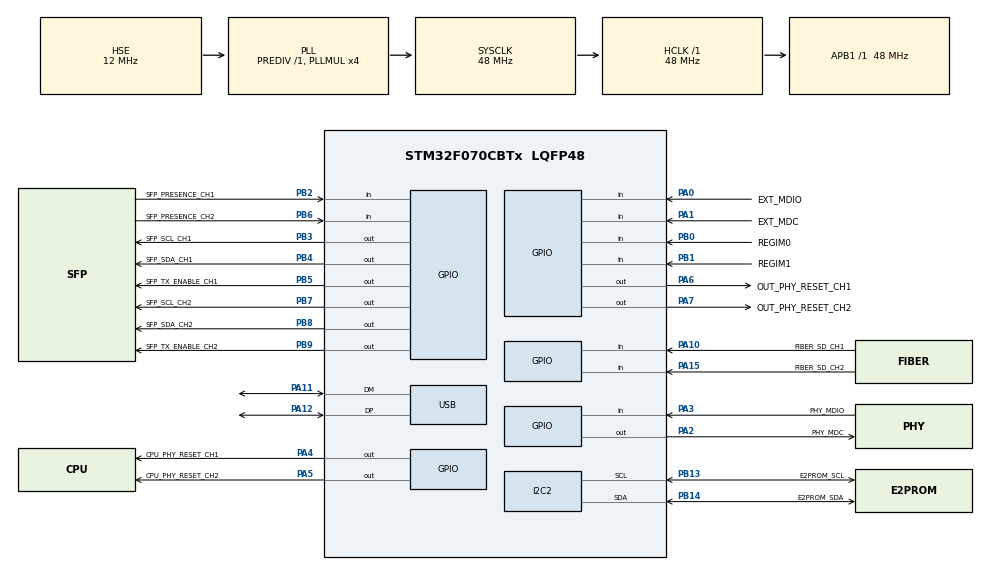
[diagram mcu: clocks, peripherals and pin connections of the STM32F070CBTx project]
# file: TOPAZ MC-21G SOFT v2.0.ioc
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I2C2.Timing=0x20303E5D
IWDG.Prescaler=IWDG_PRESCALER_8
IWDG.Reload=2500
IWDG.Window=4095
Mcu.Family=STM32F0
Mcu.Name=STM32F070CBTx
Mcu.Package=LQFP48
NVIC.USB_IRQn=true\:0\:0\:false\:false\:true\:false\:true
PA0.GPIO_Label=EXT_MDIO
PA0.Signal=GPIO_Input
PA1.GPIO_Label=EXT_MDC
PA1.GPIO_Mode=GPIO_MODE_INPUT
PA1.Signal=GPIO_Input
PA10.GPIO_Label=FIBER_SD_CH1
PA10.Signal=GPIO_Input
PA11.Mode=Device
PA11.Signal=USB_DM
PA12.Mode=Device
PA12.Signal=USB_DP
PA13.Mode=Serial_Wire
PA13.Signal=SYS_SWDIO
PA14.Mode=Serial_Wire
PA14.Signal=SYS_SWCLK
PA15.GPIO_Label=FIBER_SD_CH2
PA15.Signal=GPIO_Input
PA2.GPIO_Label=PHY_MDC
PA2.GPIO_Speed=GPIO_SPEED_FREQ_HIGH
PA2.Signal=GPIO_Output
PA3.GPIO_Label=PHY_MDIO
PA3.Signal=GPIO_Input
PA4.GPIO_Label=CPU_PHY_RESET_CH1
PA4.GPIO_Speed=GPIO_SPEED_FREQ_LOW
PA4.Signal=GPIO_Output
PA5.GPIO_Label=CPU_PHY_RESET_CH2
PA5.GPIO_Speed=GPIO_SPEED_FREQ_LOW
PA5.Signal=GPIO_Output
PA6.GPIO_Label=OUT_PHY_RESET_CH1
PA6.Signal=GPIO_Output
PA7.GPIO_Label=OUT_PHY_RESET_CH2
PA7.Signal=GPIO_Output
PB0.GPIO_Label=REGIM0
PB0.GPIO_PuPd=GPIO_PULLUP
PB0.Signal=GPIO_Input
PB1.GPIO_Label=REGIM1
PB1.GPIO_PuPd=GPIO_PULLUP
PB1.Signal=GPIO_Input
PB13.GPIO_Label=E2PROM_SCL
PB13.Mode=I2C
PB13.Signal=I2C2_SCL
PB14.GPIO_Label=E2PROM_SDA
PB14.Mode=I2C
PB14.Signal=I2C2_SDA
PB2.GPIO_Label=SFP_PRESENCE_CH1
PB2.Signal=GPIO_Input
PB3.GPIO_Label=SFP_SCL_CH1
PB3.GPIO_ModeDefaultOutputPP=GPIO_MODE_OUTPUT_OD
PB3.GPIO_Speed=GPIO_SPEED_FREQ_HIGH
PB3.PinState=GPIO_PIN_SET
PB3.Signal=GPIO_Output
PB4.GPIO_Label=SFP_SDA_CH1
PB4.GPIO_ModeDefaultOutputPP=GPIO_MODE_OUTPUT_OD
PB4.GPIO_Speed=GPIO_SPEED_FREQ_HIGH
PB4.PinState=GPIO_PIN_SET
PB4.Signal=GPIO_Output
PB5.GPIO_Label=SFP_TX_ENABLE_CH1
PB5.GPIO_ModeDefaultOutputPP=GPIO_MODE_OUTPUT_OD
PB5.GPIO_PuPd=GPIO_PULLUP
PB5.GPIO_Speed=GPIO_SPEED_FREQ_HIGH
PB5.PinState=GPIO_PIN_SET
PB5.Signal=GPIO_Output
PB6.GPIO_Label=SFP_PRESENCE_CH2
PB6.Signal=GPIO_Input
PB7.GPIO_FM7=SYSCFG_CFGR1_I2C_FMP_PB7
PB7.GPIO_Label=SFP_SCL_CH2
PB7.GPIO_ModeDefaultOutputPP=GPIO_MODE_OUTPUT_OD
PB7.GPIO_Speed=GPIO_SPEED_FREQ_HIGH
PB7.PinState=GPIO_PIN_SET
PB7.Signal=GPIO_Output
PB8.GPIO_FM8=SYSCFG_CFGR1_I2C_FMP_PB8
PB8.GPIO_Label=SFP_SDA_CH2
PB8.GPIO_ModeDefaultOutputPP=GPIO_MODE_OUTPUT_OD
PB8.GPIO_Speed=GPIO_SPEED_FREQ_HIGH
PB8.PinState=GPIO_PIN_SET
PB8.Signal=GPIO_Output
PB9.GPIO_FM9=SYSCFG_CFGR1_I2C_FMP_PB9
PB9.GPIO_Label=SFP_TX_ENABLE_CH2
PB9.GPIO_ModeDefaultOutputPP=GPIO_MODE_OUTPUT_OD
PB9.GPIO_PuPd=GPIO_PULLUP
PB9.GPIO_Speed=GPIO_SPEED_FREQ_HIGH
PB9.PinState=GPIO_PIN_SET
PB9.Signal=GPIO_Output
PF0-OSC_IN.Mode=HSE-External-Oscillator
PF0-OSC_IN.Signal=RCC_OSC_IN
PF1-OSC_OUT.Mode=HSE-External-Oscillator
PF1-OSC_OUT.Signal=RCC_OSC_OUT
ProjectManager.HeapSize=0x1000
ProjectManager.StackSize=0x800
ProjectManager.TargetToolchain=EWARM V8
RCC.AHBFreq_Value=48000000
RCC.APB1Freq_Value=48000000
RCC.APB1TimFreq_Value=48000000
RCC.HCLKFreq_Value=48000000
RCC.HSE_VALUE=12000000
RCC.PLLMUL=RCC_PLL_MUL4
RCC.SYSCLKFreq_VALUE=48000000
RCC.SYSCLKSource=RCC_SYSCLKSOURCE_PLLCLK
USB_DEVICE.CLASS_NAME_FS=CDC
USB_DEVICE.VirtualMode=Cdc
USB_DEVICE.VirtualModeFS=Cdc_FS
VP_IWDG_VS_IWDG.Mode=IWDG_Activate
VP_USB_DEVICE_VS_USB_DEVICE_CDC_FS.Mode=CDC_FS
board=custom

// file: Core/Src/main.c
/* USER CODE BEGIN Header */
/**
  ******************************************************************************
  * @file           : main.c
  * @brief          : Main program body
  ******************************************************************************
  * @attention
  *
  * <h2><center>&copy; Copyright (c) 2020 STMicroelectronics.
  * All rights reserved.</center></h2>
  *
  * This software component is licensed by ST under BSD 3-Clause license,
  * the "License"; You may not use this file except in compliance with the
  * License. You may obtain a copy of the License at:
  *                        opensource.org/licenses/BSD-3-Clause
  *
  ******************************************************************************
  */
/* USER CODE END Header */
#include "main.h"
#include "i2c.h"
#include "iwdg.h"
#include "usb_device.h"
#include "gpio.h"

/* USER CODE BEGIN Includes */
#include "def.h"
/* USER CODE END Includes */

/* USER CODE BEGIN PV */
TIME_EVENTS		time_events = {FALSE, FALSE, FALSE, FALSE};
SYSTEM_STATUS	system_status = {MODEX, ABSENT, ABSENT,
								SFP_UNKNOWN, SFP_UNKNOWN,
								LINK_DOWN, LINK_DOWN,
								false, false};
SYSTEM_EVENTS	system_events = {FALSE, FALSE, FALSE, FALSE, FALSE, FALSE, FALSE, FALSE};
/* USER CODE END PV */

void SystemClock_Config(void);

int main(void)
{

  /* MCU Configuration--------------------------------------------------------*/

  /* Reset of all peripherals, Initializes the Flash interface and the Systick. */
  HAL_Init();

  /* Configure the system clock */
  SystemClock_Config();

  /* Initialize all configured peripherals */
  MX_GPIO_Init();
  MX_USB_DEVICE_Init();
  MX_I2C2_Init();
//  MX_IWDG_Init();
  /* USER CODE BEGIN 2 */

	ConsoleWrite(_str_start_program);

	system_status.op_mode = DetermineOperatingMode();

	if(system_status.op_mode == MODEX)	// аппаратная ошибка определения режима работы
		ResolveCriticalException(HW_ERROR, _str_wrong_op_mode);

	HAL_Delay(250);	// guaranteed hardware reset time

	WDT

	// de-assert HW reset pins
	OUT_PHY_RESET_CH1_H
	OUT_PHY_RESET_CH2_H
	if(system_status.op_mode != MODE0)
	{
		CPU_PHY_RESET_CH1_H
		CPU_PHY_RESET_CH2_H
	}

	// проверяем ответы от микросхем PHY
	if(CheckPHYPresence(system_status.op_mode) != SUCCESS)
		ResolveCriticalException(HW_ERROR, _str_phy_detect_error);

	WDT

  /* USER CODE END 2 */

  /* Infinite loop */
  /* USER CODE BEGIN WHILE */
	while (1)
	{
		WDT

		//-------------------------------------------------------//
		if(time_events.event_10ms == TRUE)
		{
			time_events.event_10ms = FALSE;

			if(system_status.op_mode != MODE3)
			{
				// ВСТАВЛЕН МОДУЛЬ SFP КАНАЛ 1
				if(system_events.event_sfp_inserted_ch1 == TRUE)
				{
					system_events.event_sfp_inserted_ch1 = FALSE;
					DefineSFPtype(CHANNEL1);

					if(system_status.ch1_sfp_type == SFP_UNKNOWN)	// исключительная ситуация
					{
						// ResolveCriticalException(HW_ERROR, _str_sfp_detect_error);
					}
					else
					{
						SFP_TX_ENABLE_CH1

						ConfigurePHY(CHANNEL1);
					}
				}

				// ВСТАВЛЕН МОДУЛЬ SFP КАНАЛ 2
				if(system_events.event_sfp_inserted_ch2 == TRUE)
				{
					system_events.event_sfp_inserted_ch2 = FALSE;
					DefineSFPtype(CHANNEL2);

					if(system_status.ch2_sfp_type == SFP_UNKNOWN)	// исключительная ситуация
					{
						// ResolveCriticalException(HW_ERROR, _str_sfp_detect_error);
					}
					else
					{
						SFP_TX_ENABLE_CH2

						ConfigurePHY(CHANNEL2);
					}
				}

				// МОДУЛЬ SFP КАНАЛ 1 ИЗВЛЕЧЁН
				if(system_events.event_sfp_removed_ch1 == TRUE)
				{
					system_events.event_sfp_removed_ch1 = FALSE;

					SFP_TX_DISABLE_CH1

					printf("\nCH1 SFP extracted\n");

					// soft reset
					if(system_status.op_mode == MODE0)
						write_MDIO(OUT_PHY_ADR_CH1, 0x00, 0x8000);

				}

				// МОДУЛЬ SFP КАНАЛ 2 ИЗВЛЕЧЁН
				if(system_events.event_sfp_removed_ch2 == TRUE)
				{
					system_events.event_sfp_removed_ch2 = FALSE;

					SFP_TX_DISABLE_CH2

					printf("\nCH2 SFP extracted\n");

					// soft reset
					if(system_status.op_mode == MODE0)
						write_MDIO(OUT_PHY_ADR_CH2, 0x00, 0x8000);
				}
			}

			if(system_status.op_mode != MODE2)
			{
				if(system_events.ch1_linkup == TRUE)
				{
					system_events.ch1_linkup = FALSE;

					switch(system_status.ch1_link_status)
					{
						case LINK_UP_10M:
							printf("CH1: LINK_UP_10M\n");
						break;
						case LINK_UP_100M:
							printf("CH1: LINK_UP_100M\n");
						break;
						case LINK_UP_1000M:
							printf("CH1: LINK_UP_1000M\n");
						break;
					}
				}

				if(system_events.ch1_linkdown == TRUE)
				{
					system_events.ch1_linkdown = FALSE;
					printf("CH1: LINK_DOWN\n");
				}

				if(system_events.ch2_linkup == TRUE)
				{
					system_events.ch2_linkup = FALSE;

					switch(system_status.ch2_link_status)
					{
						case LINK_UP_10M:
							printf("CH2: LINK_UP_10M\n");
						break;
						case LINK_UP_100M:
							printf("CH2: LINK_UP_100M\n");
						break;
						case LINK_UP_1000M:
							printf("CH2: LINK_UP_1000M\n");
						break;
					}
				}

				if(system_events.ch2_linkdown == TRUE)
				{
					system_events.ch2_linkdown = FALSE;
					printf("CH2: LINK_DOWN\n");
				}
			}
		}

		//-------------------------------------------------------//
		if(time_events.event_100ms == TRUE)
	  	{
			time_events.event_100ms = FALSE;

			// проверяем наличие SFP-модулей
			if(system_status.op_mode != MODE3)
				CheckSFPPresence();

			// мониторим статус линка на медных портах
//			if(system_status.op_mode != MODE2)
//				CheckCopperLinkStatus();
		}

//		if(time_events.event_500ms == TRUE)
//	  	{
//			time_events.event_500ms = FALSE;
//		}
//
		if(time_events.event_1000ms == TRUE)
	  	{
			time_events.event_1000ms = FALSE;

			//!!!DEBUG
//			CheckFiberLinkStatus();
		}
    /* USER CODE END WHILE */

  }
}

void SystemClock_Config(void)
{
  RCC_OscInitTypeDef RCC_OscInitStruct = {0};
  RCC_ClkInitTypeDef RCC_ClkInitStruct = {0};
  RCC_PeriphCLKInitTypeDef PeriphClkInit = {0};

  /** Initializes the RCC Oscillators according to the specified parameters
  * in the RCC_OscInitTypeDef structure.
  */
  RCC_OscInitStruct.OscillatorType = RCC_OSCILLATORTYPE_LSI|RCC_OSCILLATORTYPE_HSE;
  RCC_OscInitStruct.HSEState = RCC_HSE_ON;
  RCC_OscInitStruct.LSIState = RCC_LSI_ON;
  RCC_OscInitStruct.PLL.PLLState = RCC_PLL_ON;
  RCC_OscInitStruct.PLL.PLLSource = RCC_PLLSOURCE_HSE;
  RCC_OscInitStruct.PLL.PLLMUL = RCC_PLL_MUL4;
  RCC_OscInitStruct.PLL.PREDIV = RCC_PREDIV_DIV1;
  if (HAL_RCC_OscConfig(&RCC_OscInitStruct) != HAL_OK)
  {
    Error_Handler();
  }
  /** Initializes the CPU, AHB and APB buses clocks
  */
  RCC_ClkInitStruct.ClockType = RCC_CLOCKTYPE_HCLK|RCC_CLOCKTYPE_SYSCLK
                              |RCC_CLOCKTYPE_PCLK1;
  RCC_ClkInitStruct.SYSCLKSource = RCC_SYSCLKSOURCE_PLLCLK;
  RCC_ClkInitStruct.AHBCLKDivider = RCC_SYSCLK_DIV1;
  RCC_ClkInitStruct.APB1CLKDivider = RCC_HCLK_DIV1;

  if (HAL_RCC_ClockConfig(&RCC_ClkInitStruct, FLASH_LATENCY_1) != HAL_OK)
  {
    Error_Handler();
  }
  PeriphClkInit.PeriphClockSelection = RCC_PERIPHCLK_USB;
  PeriphClkInit.UsbClockSelection = RCC_USBCLKSOURCE_PLL;

  if (HAL_RCCEx_PeriphCLKConfig(&PeriphClkInit) != HAL_OK)
  {
    Error_Handler();
  }
}

/* USER CODE BEGIN 4 */
/******************************************************************************/
// определяем заданную переключателем аппаратную конфигурацию
//   - MODE 0 - два независимых медиаконвертора
//   - MODE 1 - два независимых порта с автодетектом
//   - MODE 2 - два независимых порта с оптическими трансиверами (SFP)
//   - MODE 3 - два независимых порта с разъёмами RJ-45
//   - MODE X - режим работы не определён, исключительная ситуация
OPERATING_MODE DetermineOperatingMode(void)
{
	uint8_t mode = 0;

	if(HAL_GPIO_ReadPin(REGIM0_GPIO_Port, REGIM0_Pin) == GPIO_PIN_RESET)
		mode |= 0x01;

	if(HAL_GPIO_ReadPin(REGIM1_GPIO_Port, REGIM1_Pin) == GPIO_PIN_RESET)
		mode |= 0x02;

	switch(mode)
	{
		case 0: {ConsoleWrite("MODE0 detected\n");	return MODE0;}
		case 1: {ConsoleWrite("MODE1 detected\n");	return MODE1;}
		case 2: {ConsoleWrite("MODE2 detected\n");	return MODE2;}
		case 3: {ConsoleWrite("MODE3 detected\n");	return MODE3;}
	}

	return MODEX;
}

/******************************************************************************/
void ResolveCriticalException(ERROR_TYPE error, char* message)
{
	if(message != NULL)
		ConsoleWrite(message);

	switch(error)
	{
		//----------------------------------------------//
		case HW_ERROR:
		case EXECUTE_ERROR:
			while(1);	// ждём перезагрузки по IWDTG
		break;
		//----------------------------------------------//
		default:
		break;
	}
}
/* USER CODE END 4 */

void Error_Handler(void)
{
  /* USER CODE BEGIN Error_Handler_Debug */
  /* User can add his own implementation to report the HAL error return state */
	// произошла критическая ошибка
	// необходима аппаратная перезагрузка системы
	ResolveCriticalException(EXECUTE_ERROR, NULL);
  /* USER CODE END Error_Handler_Debug */
}

/************************ (C) COPYRIGHT STMicroelectronics *****END OF FILE****/
